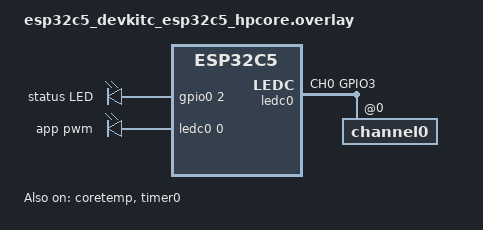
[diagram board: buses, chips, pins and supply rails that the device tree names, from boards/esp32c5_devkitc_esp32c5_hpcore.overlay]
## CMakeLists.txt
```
# SPDX-License-Identifier: Apache-2.0

cmake_minimum_required(VERSION 3.20.0)
find_package(Zephyr REQUIRED HINTS $ENV{ZEPHYR_BASE})
project(platform)

zephyr_syscall_header(${CMAKE_CURRENT_SOURCE_DIR}/src/svc.h)

target_sources(app PRIVATE
  src/main.c
  src/svc.c
  src/apps.c
  src/loader.c
)

# The downloadable app, built as an llext. It calls the platform service
# syscalls, so it needs the service header and the generated syscall headers.
set(ext_name installed_app)
set(ext_src module/src/${ext_name}.c)
set(ext_bin ${PROJECT_BINARY_DIR}/llext/${ext_name}.llext)
set(ext_inc ${ZEPHYR_BINARY_DIR}/include/generated/${ext_name}.inc)
set(ext_sha ${ZEPHYR_BINARY_DIR}/include/generated/${ext_name}.sha256.inc)

add_llext_target(${ext_name}_ext
  OUTPUT  ${ext_bin}
  SOURCES ${ext_src}
)
llext_include_directories(${ext_name}_ext
  ${CMAKE_CURRENT_SOURCE_DIR}/src
  ${ZEPHYR_BINARY_DIR}/include/generated
)

generate_inc_file_for_target(app ${ext_bin} ${ext_inc})

add_custom_command(
  OUTPUT  ${ext_sha}
  COMMAND ${CMAKE_COMMAND}
          -DMODULE_BIN=${ext_bin}
          -DOUT_INC=${ext_sha}
          -P ${CMAKE_CURRENT_SOURCE_DIR}/cmake/gen_sha256_inc.cmake
  DEPENDS ${ext_bin}
)
add_custom_target(${ext_name}_sha DEPENDS ${ext_sha})
add_dependencies(app ${ext_name}_sha)
```

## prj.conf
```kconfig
CONFIG_USERSPACE=y
CONFIG_APPLICATION_DEFINED_SYSCALL=y

CONFIG_SENSOR=y
CONFIG_GPIO=y
CONFIG_PWM=y
CONFIG_COUNTER=y
CONFIG_RTC=y
CONFIG_RTC_INIT_PRIORITY=70

CONFIG_TASK_WDT=y
CONFIG_TASK_WDT_CHANNELS=6

CONFIG_FLASH=y
CONFIG_FLASH_MAP=y
CONFIG_FLASH_PAGE_LAYOUT=y
CONFIG_FILE_SYSTEM=y
CONFIG_FILE_SYSTEM_LITTLEFS=y

# Runtime-loaded apps (the app-store path).
CONFIG_LLEXT=y
CONFIG_LLEXT_HEAP_SIZE=64
CONFIG_LLEXT_TYPE_ELF_RELOCATABLE=y
CONFIG_PSA_CRYPTO=y
CONFIG_MBEDTLS_ENABLE_HEAP=y
CONFIG_PSA_WANT_ALG_SHA_256=y

CONFIG_LOG=y
CONFIG_LOG_MODE_MINIMAL=y
CONFIG_THREAD_NAME=y

CONFIG_MAX_DOMAIN_PARTITIONS=8
CONFIG_MAIN_STACK_SIZE=4096
CONFIG_HEAP_MEM_POOL_SIZE=16384
```

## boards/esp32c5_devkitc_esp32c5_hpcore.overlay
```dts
/*
 * Copyright (c) 2026 Espressif Systems (Shanghai) Co., Ltd.
 * SPDX-License-Identifier: Apache-2.0
 */

#include <zephyr/dt-bindings/pwm/pwm.h>

/ {
	leds {
		compatible = "gpio-leds";

		status_led: led_0 {
			gpios = <&gpio0 2 GPIO_ACTIVE_HIGH>;
			label = "status LED";
		};
	};

	app_pwm: app_pwm {
		compatible = "pwm-leds";

		app_pwm_ch: app_pwm_ch {
			pwms = <&ledc0 0 PWM_HZ(1000) PWM_POLARITY_NORMAL>;
			label = "app pwm";
		};
	};

	aliases {
		led0 = &status_led;
		app-pwm = &app_pwm_ch;
	};
};

&coretemp {
	status = "okay";
};

/* PWM: LEDC channel 0 on GPIO3 (GPIO2 is the LED). */
&pinctrl {
	ledc0_default: ledc0_default {
		group1 {
			pinmux = <LEDC_CH0_GPIO3>;
			output-enable;
		};
	};
};

&ledc0 {
	pinctrl-0 = <&ledc0_default>;
	pinctrl-names = "default";
	status = "okay";
	#address-cells = <1>;
	#size-cells = <0>;

	channel0@0 {
		reg = <0x0>;
		timer = <0>;
	};
};

/* RTC: a counter-backed wall clock over timer0. */
&timer0 {
	status = "okay";

	counter {
		status = "okay";

		counter_rtc: counter-rtc {
			compatible = "zephyr,rtc-counter";
			status = "okay";
			alarms-count = <0>;
		};
	};
};
```

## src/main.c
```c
/*
 * Copyright (c) 2026 Espressif Systems (Shanghai) Co., Ltd.
 *
 * SPDX-License-Identifier: Apache-2.0
 */

/*
 * The integrated platform. This is the assembled system, not a single feature:
 * at boot it loads the installed-app registry from flash, launches each
 * installed app as an isolated user-mode group, and supervises them. The apps
 * use platform services; a misbehaving app is detected and reclaimed while the
 * others and the system keep running. The whole boot -> install -> run ->
 * survive-a-fault story in one image.
 */

#include "app_caps.h"
#include "svc.h"

#include <zephyr/app_platform/app_platform.h>
#include <zephyr/app_platform/app_registry.h>
#include <zephyr/kernel.h>
#include <zephyr/sys/printk.h>

extern int loader_install(const char *name, uint32_t caps);

int main(void)
{
	printk("\n================ Zephyr Application Platform ================\n");

	if (app_platform_init() != 0) {
		printk("platform: init failed\n");
		return 0;
	}

	/* Bring up the brokered devices before any app can call a service. */
	svc_devices_init();

	/* Load what is installed (persisted across reboots). */
	if (app_registry_load() != 0) {
		printk("platform: registry load failed\n");
		return 0;
	}

	if (app_registry_count() == 0) {
		printk("\nfirst boot: installing apps...\n");
		app_registry_install("climate", true);
		app_registry_install("datalogger", true);
		app_registry_install("blinker", true);
		app_registry_install("buggy", true);
	} else {
		printk("\nreboot: %d app(s) already installed\n",
		       app_registry_count());
	}

	/* Launch every installed, autostart app from the catalog. */
	printk("\nlaunching installed apps:\n");
	int n = app_registry_count();

	for (int i = 0; i < n; i++) {
		struct app_record r;

		if (app_registry_get(i, &r) != 0 || !r.autostart) {
			continue;
		}
		const struct app_def *def = platform_catalog_find(r.name);

		if (def == NULL) {
			printk("  (no catalog entry for '%s')\n", r.name);
			continue;
		}
		app_platform_launch(def);
	}

	/* Install a runtime-downloaded llext app: verify, load, isolate, run. */
	printk("\ninstalling a runtime-loaded app (llext):\n");
	loader_install("installed-llext", CAP_GPIO);

	/* Let the system run: good apps tick, the buggy one is reclaimed. */
	printk("\n--- platform running ---\n");
	k_msleep(6000);

	printk("\n=== platform still alive: a bad app was reclaimed, the rest ran ===\n");
	return 0;
}
```

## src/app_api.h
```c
/*
 * Copyright (c) 2026 Espressif Systems (Shanghai) Co., Ltd.
 *
 * SPDX-License-Identifier: Apache-2.0
 */

#ifndef PLATFORM_APP_API_H_
#define PLATFORM_APP_API_H_

#include <stdint.h>
#include <stddef.h>

/*
 * The service table injected into a loadable (llext) app at launch. It is the
 * loadable-app equivalent of the service syscalls a built-in app calls: each
 * entry is brokered by the platform, which enforces the app's capabilities, so
 * a call to an ungranted service returns an error just as a syscall would.
 */
struct app_api {
	void (*log)(const char *msg);
	void (*heartbeat)(void);
	int  (*sensor_read)(int32_t *milli_c);
	int  (*led_set)(int on);
	int  (*pwm_set)(uint8_t percent);
	void (*sleep_ms)(uint32_t ms);
};

/* A loadable app entry takes the injected service table. */
typedef void (*app_api_entry_t)(const struct app_api *api);

#endif /* PLATFORM_APP_API_H_ */
```

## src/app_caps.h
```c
/*
 * Copyright (c) 2026 Espressif Systems (Shanghai) Co., Ltd.
 *
 * SPDX-License-Identifier: Apache-2.0
 */

#ifndef PLATFORM_APP_CAPS_H_
#define PLATFORM_APP_CAPS_H_

#include <zephyr/sys/util.h>

/*
 * Application-defined capabilities. The platform stores each app's grant mask
 * opaquely; these bits give it meaning, and the services enforce them. This is
 * policy owned by the application, not the platform.
 */
#define CAP_SENSOR  BIT(0)   /* read the die temperature */
#define CAP_GPIO    BIT(1)   /* drive the status LED     */
#define CAP_PWM     BIT(2)   /* set the PWM duty         */
#define CAP_FLASH   BIT(3)   /* read/write its flash slot */
#define CAP_RTC     BIT(4)   /* read the wall clock      */

/* Resolve a catalog entry by installed name (defined in apps.c). */
const struct app_def *platform_catalog_find(const char *name);

#endif /* PLATFORM_APP_CAPS_H_ */
```

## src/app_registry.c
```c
/*
 * Copyright (c) 2026 Espressif Systems (Shanghai) Co., Ltd.
 *
 * SPDX-License-Identifier: Apache-2.0
 */

#include "app_registry.h"

#include <zephyr/kernel.h>
#include <zephyr/sys/printk.h>
#include <zephyr/fs/fs.h>
#include <zephyr/fs/littlefs.h>
#include <zephyr/storage/flash_map.h>
#include <string.h>
#include <errno.h>

#define MOUNT_POINT "/lfs"
#define REG_PATH    MOUNT_POINT "/registry.bin"

FS_LITTLEFS_DECLARE_DEFAULT_CONFIG(lfs_cfg);
static struct fs_mount_t mnt = {
	.type = FS_LITTLEFS,
	.fs_data = &lfs_cfg,
	.storage_dev = (void *)FIXED_PARTITION_ID(storage_partition),
	.mnt_point = MOUNT_POINT,
};

/* On-flash registry: a header count plus the records. */
struct reg_file {
	uint32_t magic;
	uint32_t count;
	uint32_t next_seq;
	struct app_record apps[APP_REG_MAX];
};
#define REG_MAGIC 0x41505072   /* "APPr" - v2 catalog (capability apps) */

static struct reg_file reg;

static int reg_save(void)
{
	struct fs_file_t f;

	fs_file_t_init(&f);
	int rc = fs_open(&f, REG_PATH, FS_O_CREATE | FS_O_WRITE | FS_O_TRUNC);

	if (rc != 0) {
		return rc;
	}
	rc = fs_write(&f, &reg, sizeof(reg));
	fs_close(&f);
	return (rc == sizeof(reg)) ? 0 : -EIO;
}

int app_registry_load(void)
{
	int rc = fs_mount(&mnt);

	if (rc != 0 && rc != -EBUSY) {
		printk("registry: mount failed %d\n", rc);
		return rc;
	}

	struct fs_file_t f;

	fs_file_t_init(&f);
	rc = fs_open(&f, REG_PATH, FS_O_READ);
	if (rc == 0) {
		ssize_t n = fs_read(&f, &reg, sizeof(reg));

		fs_close(&f);
		if (n == sizeof(reg) && reg.magic == REG_MAGIC) {
			printk("registry: loaded %u installed app(s) from flash\n",
			       reg.count);
			return 0;
		}
	}

	/* First boot: empty registry. */
	memset(&reg, 0, sizeof(reg));
	reg.magic = REG_MAGIC;
	reg.next_seq = 1;
	printk("registry: no registry found, starting empty (first boot)\n");
	return reg_save();
}

static int find(const char *name)
{
	for (uint32_t i = 0; i < reg.count; i++) {
		if (strcmp(reg.apps[i].name, name) == 0) {
			return (int)i;
		}
	}
	return -1;
}

int app_registry_install(const char *name, bool autostart)
{
	int idx = find(name);

	if (idx < 0) {
		if (reg.count >= APP_REG_MAX) {
			return -ENOSPC;
		}
		idx = reg.count++;
		strncpy(reg.apps[idx].name, name, APP_NAME_MAX - 1);
		reg.apps[idx].name[APP_NAME_MAX - 1] = '\0';
	}
	reg.apps[idx].enabled = 1;
	reg.apps[idx].autostart = autostart ? 1 : 0;
	reg.apps[idx].install_seq = reg.next_seq++;
	printk("registry: installed '%s' (seq %u, autostart=%d)\n",
	       name, reg.apps[idx].install_seq, reg.apps[idx].autostart);
	return reg_save();
}

int app_registry_count(void)
{
	return (int)reg.count;
}

int app_registry_get(int idx, struct app_record *out)
{
	if (idx < 0 || idx >= (int)reg.count) {
		return -EINVAL;
	}
	*out = reg.apps[idx];
	return 0;
}

int app_registry_uninstall(const char *name)
{
	int idx = find(name);

	if (idx < 0) {
		return -ENOENT;
	}
	for (uint32_t i = idx; i + 1 < reg.count; i++) {
		reg.apps[i] = reg.apps[i + 1];
	}
	reg.count--;
	printk("registry: uninstalled '%s'\n", name);
	return reg_save();
}
```

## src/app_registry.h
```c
/*
 * Copyright (c) 2026 Espressif Systems (Shanghai) Co., Ltd.
 *
 * SPDX-License-Identifier: Apache-2.0
 */

#ifndef APP_PERSIST_APP_REGISTRY_H_
#define APP_PERSIST_APP_REGISTRY_H_

#include <zephyr/kernel.h>

/*
 * Installed-app registry, persisted to the filesystem. Installing an app records
 * its metadata so the platform knows, across reboots, what is installed and
 * should be launched at boot. This is the difference between "an app ran once"
 * and "an app is installed on the device".
 */

#define APP_REG_MAX      8
#define APP_NAME_MAX     16

struct app_record {
	char    name[APP_NAME_MAX];
	uint8_t enabled;     /* launch at boot? */
	uint8_t autostart;
	uint32_t install_seq;  /* bumped each install, shows persistence */
};

/* Mount fs and load the registry from flash. Call once at boot. */
int app_registry_load(void);

/* Install (or update) an app record and persist it. */
int app_registry_install(const char *name, bool autostart);

/* Number of installed apps; fetch one by index. */
int app_registry_count(void);
int app_registry_get(int idx, struct app_record *out);

/* Remove an installed app and persist. */
int app_registry_uninstall(const char *name);

#endif /* APP_PERSIST_APP_REGISTRY_H_ */
```

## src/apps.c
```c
/*
 * Copyright (c) 2026 Espressif Systems (Shanghai) Co., Ltd.
 *
 * SPDX-License-Identifier: Apache-2.0
 */

/*
 * The built-in app catalog. Each app runs in user mode and reaches the platform
 * only through service syscalls, and only the services its capabilities grant.
 */

#include "platform.h"
#include "svc.h"

#include <zephyr/kernel.h>
#include <string.h>

/* climate: granted the sensor + PWM. Reads temperature and drives a fan PWM. */
static void app_climate(void *arg)
{
	ARG_UNUSED(arg);
	uint8_t duty = 0;

	for (;;) {
		int32_t t;

		if (svc_sensor_read(&t) == 0) {
			svc_log("climate: read temperature, adjusting fan");
		}
		svc_pwm_set(duty);
		duty = (duty + 25) % 125;
		svc_heartbeat();
		k_msleep(1000);
	}
}

/* datalogger: granted flash + RTC. Stamps a record and reads it back. */
static void app_datalogger(void *arg)
{
	ARG_UNUSED(arg);

	for (uint32_t n = 0; ; n++) {
		uint32_t now = 0;

		if (svc_rtc_now(&now) == 0) {
			uint8_t rec[8];

			memcpy(rec, &now, 4);
			memcpy(rec + 4, &n, 4);
			if (svc_flash_write(0, rec, sizeof(rec)) == sizeof(rec)) {
				svc_log("datalogger: wrote timestamped record");
			}
			uint8_t back[8] = { 0 };

			svc_flash_read(0, back, sizeof(back));
		}
		svc_heartbeat();
		k_msleep(1000);
	}
}

/* blinker: granted GPIO only. Blinks the LED, and probes a denied service. */
static void app_blinker(void *arg)
{
	ARG_UNUSED(arg);
	int on = 0;
	bool probed = false;

	for (;;) {
		svc_led_set(on);
		on = !on;

		if (!probed) {
			int32_t t;
			int rc = svc_sensor_read(&t);   /* not granted CAP_SENSOR */

			if (rc == -EPERM) {
				svc_log("blinker: sensor denied (-EPERM), as expected");
			}
			probed = true;
		}
		svc_heartbeat();
		k_msleep(500);
	}
}

/* buggy: stops feeding its watchdog -> the platform reclaims it. */
static void app_buggy(void *arg)
{
	ARG_UNUSED(arg);
	svc_log("buggy: about to hang (will be reclaimed)");
	for (;;) {
		/* no heartbeat, no yield */
	}
}

/*
 * The catalog: name -> built-in entry + granted capabilities. A loadable app
 * would add an entry with source APP_LOADABLE and a caps mask from its manifest.
 */
static const struct app_def catalog[] = {
	{ "climate",    APP_BUILTIN, app_climate,    CAP_SENSOR | CAP_PWM },
	{ "datalogger", APP_BUILTIN, app_datalogger, CAP_FLASH | CAP_RTC },
	{ "blinker",    APP_BUILTIN, app_blinker,    CAP_GPIO },
	{ "buggy",      APP_BUILTIN, app_buggy,      0 },
};

const struct app_def *platform_catalog_find(const char *name)
{
	for (size_t i = 0; i < ARRAY_SIZE(catalog); i++) {
		if (strcmp(catalog[i].name, name) == 0) {
			return &catalog[i];
		}
	}
	return NULL;
}
```

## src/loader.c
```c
/*
 * Copyright (c) 2026 Espressif Systems (Shanghai) Co., Ltd.
 *
 * SPDX-License-Identifier: Apache-2.0
 */

/*
 * Install a downloadable app: the module bytes and expected hash are embedded
 * for the demo. The platform's loader verifies and loads it; the platform then
 * launches it as an isolated user-mode group with the granted capabilities.
 */

#include <zephyr/app_platform/app_platform.h>
#include <zephyr/app_platform/app_loader.h>

#include <zephyr/kernel.h>

static const uint8_t module_buf[] = {
#include "installed_app.inc"
};

static const uint8_t expected_hash[32] = {
#include "installed_app.sha256.inc"
};

int loader_install(const char *name, uint32_t caps)
{
	struct llext *ext = NULL;
	void *entry = NULL;
	int rc = app_loader_verify_load(name, module_buf, ARRAY_SIZE(module_buf),
					expected_hash, "app_main", &ext, &entry);

	if (rc != 0) {
		return rc;
	}

	return app_platform_launch_llext(name, ext, (app_entry_t)entry, NULL, caps);
}
```

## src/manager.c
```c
/*
 * Copyright (c) 2026 Espressif Systems (Shanghai) Co., Ltd.
 *
 * SPDX-License-Identifier: Apache-2.0
 */

#include "platform.h"

#include <zephyr/kernel.h>
#include <zephyr/sys/printk.h>
#include <zephyr/fatal.h>
#include <zephyr/task_wdt/task_wdt.h>

#define APP_STACK_SIZE 2048
#define APP_PRIO       5

/* A running app: an isolated user-mode group with its own domain + watchdog. */
struct running_app {
	const char         *name;
	bool                active;
	struct k_thread     thread;
	struct k_mem_domain domain;
	int                 wdt_chan;
	bool                wdt_fired;
	app_entry_t         entry;
	uint32_t            caps;
};

static struct running_app apps[PLATFORM_MAX_APPS];
static K_THREAD_STACK_ARRAY_DEFINE(app_stacks, PLATFORM_MAX_APPS, APP_STACK_SIZE);

/* Reclaim requests from the wdt ISR / fatal handler -> supervisor thread. */
static struct k_msgq reclaim_q;
static uint8_t reclaim_buf[PLATFORM_MAX_APPS];
static struct k_thread sup_thread;
static K_THREAD_STACK_DEFINE(sup_stack, 2048);

static struct running_app *app_of_thread(k_tid_t t)
{
	for (int i = 0; i < PLATFORM_MAX_APPS; i++) {
		if (apps[i].active && &apps[i].thread == t) {
			return &apps[i];
		}
	}
	return NULL;
}

int manager_id_of_current(void)
{
	struct running_app *a = app_of_thread(k_current_get());

	return a ? (int)(a - apps) : -1;
}

uint32_t manager_caps_of_current(void)
{
	struct running_app *a = app_of_thread(k_current_get());

	return a ? a->caps : 0U;
}

/* Fault containment: a faulting app is reclaimed, the system survives. */
void k_sys_fatal_error_handler(unsigned int reason, const struct arch_esf *esf)
{
	ARG_UNUSED(esf);
	if (reason == K_ERR_KERNEL_PANIC) {
		printk("platform: kernel panic, halting\n");
		k_fatal_halt(reason);
	}
	struct running_app *a = app_of_thread(k_current_get());

	if (a) {
		uint8_t id = a - apps;

		printk("platform: app '%s' faulted (reason %u) - reclaiming\n",
		       a->name, reason);
		(void)k_msgq_put(&reclaim_q, &id, K_NO_WAIT);
	} else {
		k_fatal_halt(reason);
	}
}

static void wdt_cb(int chan, void *user)
{
	ARG_UNUSED(chan);
	struct running_app *a = user;
	uint8_t id = a - apps;

	a->wdt_fired = true;
	(void)k_msgq_put(&reclaim_q, &id, K_NO_WAIT);
}

void manager_app_feed(void)
{
	struct running_app *a = app_of_thread(k_current_get());

	if (a && a->wdt_chan >= 0) {
		(void)task_wdt_feed(a->wdt_chan);
	}
}

static void reclaim(struct running_app *a)
{
	if (!a->active) {
		return;
	}
	if (a->wdt_chan >= 0) {
		(void)task_wdt_delete(a->wdt_chan);
		a->wdt_chan = -1;
	}
	k_thread_abort(&a->thread);
	a->active = false;
	printk("platform: app '%s' reclaimed; system + other apps alive\n",
	       a->name);
}

static void supervisor(void *a, void *b, void *c)
{
	ARG_UNUSED(a); ARG_UNUSED(b); ARG_UNUSED(c);
	for (;;) {
		uint8_t id;

		if (k_msgq_get(&reclaim_q, &id, K_FOREVER) == 0 &&
		    id < PLATFORM_MAX_APPS) {
			reclaim(&apps[id]);
		}
	}
}

static void trampoline(void *entry, void *u1, void *u2)
{
	ARG_UNUSED(u1); ARG_UNUSED(u2);
	((app_entry_t)entry)(NULL);
}

int manager_init(void)
{
	k_msgq_init(&reclaim_q, reclaim_buf, sizeof(uint8_t), PLATFORM_MAX_APPS);
	if (task_wdt_init(NULL) != 0) {
		return -EIO;
	}
	for (int i = 0; i < PLATFORM_MAX_APPS; i++) {
		apps[i].wdt_chan = -1;
	}
	k_thread_create(&sup_thread, sup_stack, 2048, supervisor,
			NULL, NULL, NULL, 2, 0, K_NO_WAIT);
	k_thread_name_set(&sup_thread, "supervisor");
	return 0;
}

/* Launch an app from its catalog entry as an isolated, supervised group. */
int manager_launch(const struct app_def *def)
{
	for (int i = 0; i < PLATFORM_MAX_APPS; i++) {
		if (apps[i].active) {
			continue;
		}
		struct running_app *a = &apps[i];

		a->name = def->name;
		a->entry = def->entry;
		a->caps = def->caps;
		a->wdt_fired = false;
		k_mem_domain_init(&a->domain, 0, NULL);

		k_tid_t t = k_thread_create(&a->thread, app_stacks[i],
					    APP_STACK_SIZE, trampoline,
					    (void *)def->entry, NULL, NULL,
					    APP_PRIO, K_USER | K_INHERIT_PERMS,
					    K_FOREVER);
		k_thread_name_set(t, def->name);
		k_mem_domain_add_thread(&a->domain, t);
		a->wdt_chan = task_wdt_add(2000, wdt_cb, a);
		a->active = true;
		k_thread_start(t);
		printk("platform: launched app '%s' (isolated group %d)\n",
		       def->name, i);
		return i;
	}
	return -ENOSPC;
}
```

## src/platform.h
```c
/*
 * Copyright (c) 2026 Espressif Systems (Shanghai) Co., Ltd.
 *
 * SPDX-License-Identifier: Apache-2.0
 */

#ifndef PLATFORM_PLATFORM_H_
#define PLATFORM_PLATFORM_H_

#include <zephyr/kernel.h>

/*
 * The integrated platform: one image where the installed-app registry, the app
 * manager, the services, and supervision run together. Boot loads the installed
 * apps from flash, launches each as an isolated group, and supervises them so a
 * misbehaving app is reclaimed without taking the system or other apps down.
 *
 * Apps are entries in a catalog. Today each entry is a built-in function; the
 * entry shape (name + entry pointer + source) is the same one a loadable .llext
 * app would fill, so the app-store path slots in without changing the manager.
 */

#define PLATFORM_MAX_APPS 4

enum app_source {
	APP_BUILTIN = 0,   /* compiled into the firmware            */
	APP_LOADABLE,      /* loaded from flash as an llext (future) */
};

typedef void (*app_entry_t)(void *arg);

/*
 * Per-app capabilities. Each catalog entry declares the services it is granted;
 * the broker rejects any service call whose capability bit is clear, so an app
 * reaches only the subsystems it was installed with.
 */
#define CAP_SENSOR  BIT(0)   /* read the die temperature        */
#define CAP_GPIO    BIT(1)   /* drive the status LED            */
#define CAP_PWM     BIT(2)   /* set the PWM duty                */
#define CAP_FLASH   BIT(3)   /* read/write its flash slot       */
#define CAP_RTC     BIT(4)   /* read the wall clock             */

/* A catalog entry: how the platform knows how to run an app by name. */
struct app_def {
	const char     *name;
	enum app_source source;
	app_entry_t     entry;   /* for APP_BUILTIN */
	uint32_t        caps;    /* services this app is granted    */
};

/* Look up a catalog entry by name (the manager resolves installed names here). */
const struct app_def *platform_catalog_find(const char *name);

/* The capabilities granted to the currently-running app (0 if none). */
uint32_t manager_caps_of_current(void);

#endif /* PLATFORM_PLATFORM_H_ */
```

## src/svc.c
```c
/*
 * Copyright (c) 2026 Espressif Systems (Shanghai) Co., Ltd.
 *
 * SPDX-License-Identifier: Apache-2.0
 */

#include "svc.h"
#include "app_caps.h"

#include <zephyr/kernel.h>
#include <zephyr/sys/printk.h>
#include <zephyr/device.h>
#include <zephyr/drivers/sensor.h>
#include <zephyr/drivers/gpio.h>
#include <zephyr/drivers/pwm.h>
#include <zephyr/drivers/rtc.h>
#include <zephyr/storage/flash_map.h>
#include <zephyr/internal/syscall_handler.h>
#include <zephyr/app_platform/app_platform.h>
#include <errno.h>

#define FLASH_SLOT_MAX 64

/* The platform owns every device; apps reach them only through these services. */
static const struct device *const die_temp = DEVICE_DT_GET(DT_ALIAS(die_temp0));
static const struct gpio_dt_spec led = GPIO_DT_SPEC_GET(DT_ALIAS(led0), gpios);
static const struct pwm_dt_spec pwm = PWM_DT_SPEC_GET(DT_ALIAS(app_pwm));
static const struct device *const rtc = DEVICE_DT_GET(DT_NODELABEL(counter_rtc));
static const struct flash_area *fa;

void svc_devices_init(void)
{
	if (gpio_is_ready_dt(&led)) {
		(void)gpio_pin_configure_dt(&led, GPIO_OUTPUT_INACTIVE);
	}
	(void)flash_area_open(PARTITION_ID(storage_partition), &fa);

	/* Seed the wall clock so reads return a sensible time. */
	if (device_is_ready(rtc)) {
		struct rtc_time t = {
			.tm_year = 2026 - 1900, .tm_mon = 5, .tm_mday = 26,
			.tm_hour = 12, .tm_min = 0, .tm_sec = 0,
			.tm_wday = -1, .tm_yday = -1, .tm_isdst = -1,
		};
		(void)rtc_set_time(rtc, &t);
	}
}

/* ---- always-available services ---- */

void z_impl_svc_log(const char *msg)
{
	printk("    [app %d] %s\n", app_platform_id_current(), msg);
}

void z_impl_svc_heartbeat(void)
{
	app_platform_heartbeat();
}

/* ---- capability-gated services ---- */

int z_impl_svc_sensor_read(int32_t *milli_c)
{
	if ((app_platform_caps_current() & CAP_SENSOR) == 0U) {
		return -EPERM;
	}
	if (!device_is_ready(die_temp) || sensor_sample_fetch(die_temp) != 0) {
		return -EIO;
	}
	struct sensor_value v;

	if (sensor_channel_get(die_temp, SENSOR_CHAN_DIE_TEMP, &v) != 0) {
		return -EIO;
	}
	*milli_c = v.val1 * 1000 + v.val2 / 1000;
	return 0;
}

int z_impl_svc_led_set(int on)
{
	if ((app_platform_caps_current() & CAP_GPIO) == 0U) {
		return -EPERM;
	}
	if (!gpio_is_ready_dt(&led)) {
		return -ENODEV;
	}
	return gpio_pin_set_dt(&led, on ? 1 : 0);
}

int z_impl_svc_pwm_set(uint8_t percent)
{
	if ((app_platform_caps_current() & CAP_PWM) == 0U) {
		return -EPERM;
	}
	if (!pwm_is_ready_dt(&pwm)) {
		return -ENODEV;
	}
	if (percent > 100) {
		percent = 100;
	}
	uint32_t pulse = (uint32_t)((uint64_t)pwm.period * percent / 100);

	return pwm_set_pulse_dt(&pwm, pulse);
}

int z_impl_svc_flash_write(uint32_t off, const uint8_t *buf, size_t len)
{
	if ((app_platform_caps_current() & CAP_FLASH) == 0U) {
		return -EPERM;
	}
	if (fa == NULL || len > FLASH_SLOT_MAX ||
	    (uint64_t)off + len > (uint64_t)fa->fa_size) {
		return -EINVAL;
	}
	int rc = flash_area_write(fa, off, buf, len);

	return (rc == 0) ? (int)len : rc;
}

int z_impl_svc_flash_read(uint32_t off, uint8_t *buf, size_t len)
{
	if ((app_platform_caps_current() & CAP_FLASH) == 0U) {
		return -EPERM;
	}
	if (fa == NULL || len > FLASH_SLOT_MAX ||
	    (uint64_t)off + len > (uint64_t)fa->fa_size) {
		return -EINVAL;
	}
	int rc = flash_area_read(fa, off, buf, len);

	return (rc == 0) ? (int)len : rc;
}

int z_impl_svc_rtc_now(uint32_t *epoch_sec)
{
	if ((app_platform_caps_current() & CAP_RTC) == 0U) {
		return -EPERM;
	}
	if (!device_is_ready(rtc)) {
		return -ENODEV;
	}
	struct rtc_time t;

	if (rtc_get_time(rtc, &t) != 0) {
		return -EIO;
	}
	/* A coarse seconds-of-day value is enough to show the clock advancing. */
	*epoch_sec = (uint32_t)(t.tm_hour * 3600 + t.tm_min * 60 + t.tm_sec);
	return 0;
}

#ifdef CONFIG_USERSPACE
static inline int z_vrfy_svc_sensor_read(int32_t *milli_c)
{
	K_OOPS(K_SYSCALL_MEMORY_WRITE(milli_c, sizeof(*milli_c)));
	return z_impl_svc_sensor_read(milli_c);
}
#include <zephyr/syscalls/svc_sensor_read_mrsh.c>

static inline void z_vrfy_svc_log(const char *msg)
{
	char buf[64];

	if (k_usermode_string_copy(buf, (char *)msg, sizeof(buf)) == 0) {
		z_impl_svc_log(buf);
	}
}
#include <zephyr/syscalls/svc_log_mrsh.c>

static inline void z_vrfy_svc_heartbeat(void)
{
	z_impl_svc_heartbeat();
}
#include <zephyr/syscalls/svc_heartbeat_mrsh.c>

static inline int z_vrfy_svc_led_set(int on)
{
	return z_impl_svc_led_set(on);
}
#include <zephyr/syscalls/svc_led_set_mrsh.c>

static inline int z_vrfy_svc_pwm_set(uint8_t percent)
{
	return z_impl_svc_pwm_set(percent);
}
#include <zephyr/syscalls/svc_pwm_set_mrsh.c>

static inline int z_vrfy_svc_flash_write(uint32_t off, const uint8_t *buf, size_t len)
{
	if (len > FLASH_SLOT_MAX) {
		return -EINVAL;
	}
	K_OOPS(K_SYSCALL_MEMORY_READ(buf, len));
	return z_impl_svc_flash_write(off, buf, len);
}
#include <zephyr/syscalls/svc_flash_write_mrsh.c>

static inline int z_vrfy_svc_flash_read(uint32_t off, uint8_t *buf, size_t len)
{
	if (len > FLASH_SLOT_MAX) {
		return -EINVAL;
	}
	K_OOPS(K_SYSCALL_MEMORY_WRITE(buf, len));
	return z_impl_svc_flash_read(off, buf, len);
}
#include <zephyr/syscalls/svc_flash_read_mrsh.c>

static inline int z_vrfy_svc_rtc_now(uint32_t *epoch_sec)
{
	K_OOPS(K_SYSCALL_MEMORY_WRITE(epoch_sec, sizeof(*epoch_sec)));
	return z_impl_svc_rtc_now(epoch_sec);
}
#include <zephyr/syscalls/svc_rtc_now_mrsh.c>
#endif
```

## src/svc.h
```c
/*
 * Copyright (c) 2026 Espressif Systems (Shanghai) Co., Ltd.
 *
 * SPDX-License-Identifier: Apache-2.0
 */

#ifndef PLATFORM_SVC_H_
#define PLATFORM_SVC_H_

#include <zephyr/kernel.h>

/*
 * The platform service syscalls apps call from user mode. Each brokered service
 * checks the calling app's capabilities and returns -EPERM if the app was not
 * granted it. svc_log and svc_heartbeat are always available.
 */
__syscall int  svc_sensor_read(int32_t *milli_c);   /* CAP_SENSOR */
__syscall void svc_log(const char *msg);
__syscall void svc_heartbeat(void);

__syscall int  svc_led_set(int on);                 /* CAP_GPIO   */
__syscall int  svc_pwm_set(uint8_t percent);        /* CAP_PWM    */
__syscall int  svc_flash_write(uint32_t off, const uint8_t *buf, size_t len); /* CAP_FLASH */
__syscall int  svc_flash_read(uint32_t off, uint8_t *buf, size_t len);        /* CAP_FLASH */
__syscall int  svc_rtc_now(uint32_t *epoch_sec);    /* CAP_RTC    */

/* Supervisor-only: bring up the brokered devices before launching apps. */
void svc_devices_init(void);

#include <zephyr/syscalls/svc.h>

#endif /* PLATFORM_SVC_H_ */
```
